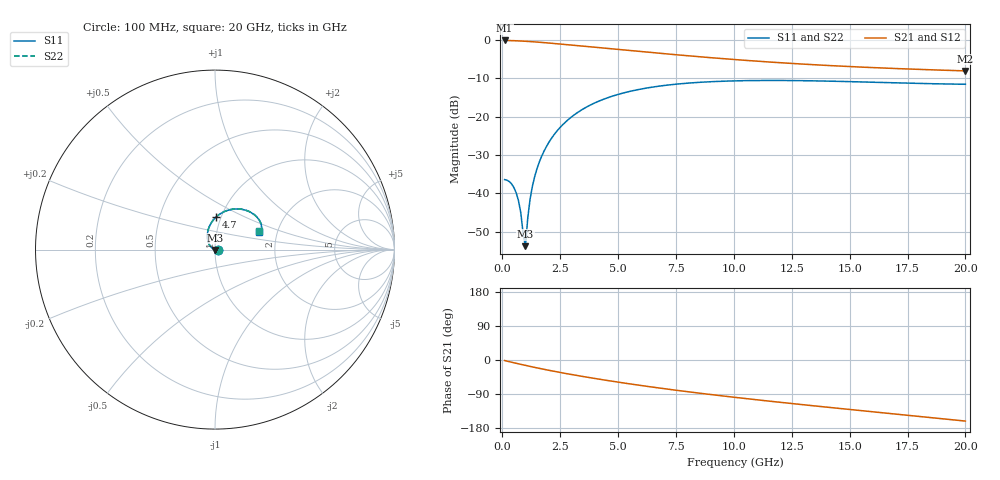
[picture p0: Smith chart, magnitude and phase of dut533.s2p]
! Touchstone file exported from HFSS 2024.1.0
!  File:  C:/UserFiles/LocalFiles/RDL_TSV_Batchsim/temp_RDL_TSV_533_1779745306.aedt
!  Generated:  05:56:56 AM May 26, 2026
!  Design:  RDL_TSV
!  Project:  temp_RDL_TSV_533_1779745306
!  Setup:  Setup1
!  Solution:  Sweep
! Variables:
!  dtsv = 7.79um
!  hbump = 3um
!  htsv = 98.83um
!  ldown = 407.79um
!  lrdl = 173.76um
!  p = 40
!  p1 = 48.92um
!  rhole = 10um
!  subl = 1918.41um
!  t = 450um
!  tdown = 2.28um
!  trdl = 2.99um
!  viad = 10um
!  wdown = 17.61um
!  wrdl = 26.99um
!  xbump = 18um
# GHz S MA R 50.000000
! Terminal data exported
! Port[1] = TM1_1_T1
! Port[2] = TM1_4_T1
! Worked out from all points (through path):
!   200 points, 100 MHz to 20 GHz, reference 50 ohm
!   highest |S21| = -0.14 dB at 100 MHz (marker M1); lowest = -8.1 dB at 20 GHz (marker M2)
!   group delay of S21, straight-line fit = 21 ps
!   lowest |S11| = -53.8 dB at 1 GHz (marker M3), VSWR 1.00, Z = 49.9 - j0.142 ohm
!   |S11| at or under -10 dB: start of sweep to end of sweep
!   |S22| runs from -53.8 to -10.6 dB; largest |S21 - S12| = 1.7e-14
!   S11 on the Smith chart (normalised r, x): 100 MHz: 1.03, -0.00; 4.7 GHz: 0.95, +0.36; 20 GHz: 1.60, +0.35
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0.1  0.01506 -1.7  0.9845 -1.5  0.9845 -1.5  0.01506 -1.7
! Gamma 0 0 0 0
! Port Impedance 50 0 50 0
0.4  0.01325 -9.9  0.9799 -5.9  0.9799 -5.9  0.01325 -9.9
0.6  0.01013 -18.4  0.9748 -8.7  0.9748 -8.7  0.01011 -18.4
0.7  0.007987 -24.3  0.9718 -10.1  0.9718 -10.1  0.007972 -24.3
0.8  0.005534 -33.4  0.9685 -11.5  0.9685 -11.5  0.005515 -33.5
0.9  0.002963 -55.3  0.9649 -12.9  0.9649 -12.9  0.002942 -55.6
1  0.002039 -135.7  0.961 -14.3  0.961 -14.3  0.00205 -136.5
1.1  0.004762 179.9  0.9568 -15.6  0.9568 -15.6  0.004795 179.7
1.2  0.008373 167.1  0.9525 -16.9  0.9525 -16.9  0.008415 167.1
1.3  0.01233 160.3  0.9479 -18.3  0.9479 -18.3  0.01238 160.3
1.5  0.02097 151.5  0.9382 -20.9  0.9382 -20.9  0.02104 151.5
1.7  0.03037 145.0  0.928 -23.4  0.928 -23.4  0.03045 145.0
2  0.04551 136.7  0.9119 -27.1  0.9119 -27.1  0.04562 136.7
2.4  0.06688 127.2  0.8898 -31.8  0.8898 -31.8  0.06702 127.2
2.9  0.09419 116.7  0.862 -37.4  0.862 -37.4  0.09438 116.7
3.5  0.1261 105.8  0.8292 -43.7  0.8292 -43.7  0.1264 105.8
4.7  0.1825 87.7  0.7667 -55.6  0.7667 -55.6  0.1829 87.7
6.8  0.2503 64.5  0.6696 -74.1  0.6696 -74.1  0.2508 64.5
10.1  0.2927 41.5  0.5528 -98.9  0.5528 -98.9  0.2934 41.5
13.4  0.2928 28.5  0.4759 -120.6  0.4759 -120.6  0.2935 28.6
16.7  0.2772 22.6  0.4269 -141.0  0.4269 -141.0  0.2779 22.7
20  0.2641 22.4  0.3947 -161.2  0.3947 -161.2  0.2648 22.5
